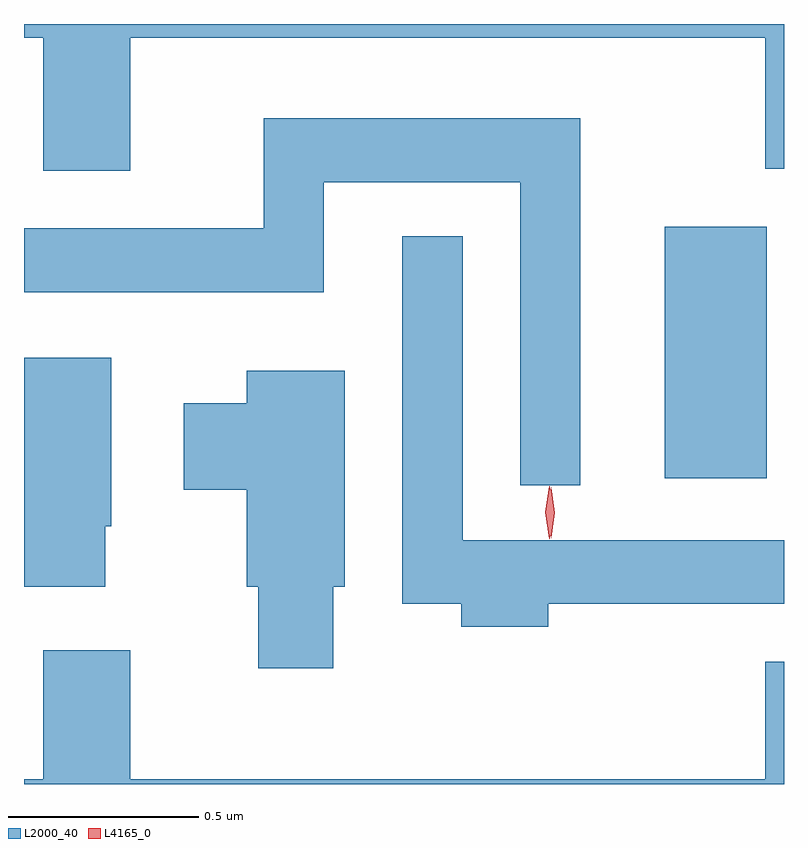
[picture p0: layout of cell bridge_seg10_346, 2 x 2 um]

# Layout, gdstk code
import gdstk
lib = gdstk.Library(unit=1e-6, precision=1e-09)
def R(c, l, rs):  # rectangles x0, y0, x1, y1
    for r in rs: c.add(gdstk.rectangle(r[:2], r[2:], *l))
def P(c, l, *ps):  # polygons
    for p in ps: c.add(gdstk.Polygon(p, *l))
L2000_40 = (2000, 40)
L4165_0 = (4165, 0)

bridge_seg10_346 = lib.new_cell('bridge_seg10_346')
R(bridge_seg10_346, L2000_40, [(1399.996,2152.716,1400.264,2153.379)])
P(bridge_seg10_346, L2000_40, [(1398.589,2153.876),(1400.261,2153.876),(1400.261,2153.531),(1400.31,2153.531),(1400.31,2153.912),(1398.31,2153.912),(1398.31,2153.876),(1398.361,2153.876),(1398.361,2153.526),(1398.589,2153.526)],
  [(1399.774,2153.664),(1398.941,2153.664),(1398.941,2153.374),(1398.31,2153.374),(1398.31,2153.206),(1399.099,2153.206),(1399.099,2153.496),(1399.616,2153.496),(1399.616,2152.698),(1399.774,2152.698)],
  [(1399.689,2152.386),(1400.31,2152.386),(1400.31,2152.554),(1399.464,2152.554),(1399.464,2153.353),(1399.306,2153.353),(1399.306,2152.386),(1399.461,2152.386),(1399.461,2152.326),(1399.689,2152.326)],
  [(1398.524,2152.59),(1398.539,2152.59),(1398.539,2153.034),(1398.31,2153.034),(1398.31,2152.431),(1398.524,2152.431)],
  [(1399.124,2152.431),(1399.154,2152.431),(1399.154,2152.999),(1398.896,2152.999),(1398.896,2152.914),(1398.731,2152.914),(1398.731,2152.686),(1398.896,2152.686),(1398.896,2152.431),(1398.926,2152.431),(1398.926,2152.216),(1399.124,2152.216)],
  [(1400.31,2152.234),(1400.261,2152.234),(1400.261,2151.924),(1398.589,2151.924),(1398.589,2152.264),(1398.361,2152.264),(1398.361,2151.924),(1398.31,2151.924),(1398.31,2151.912),(1400.31,2151.912)])
P(bridge_seg10_346, L4165_0, [(1399.697,2152.559),(1399.697,2152.56),(1399.687,2152.626),(1399.697,2152.692),(1399.697,2152.693),(1399.698,2152.692),(1399.707,2152.626),(1399.698,2152.56)],
  [(1399.692,2152.557),(1399.692,2152.557),(1399.682,2152.627),(1399.692,2152.696),(1399.692,2152.696),(1399.693,2152.696),(1399.702,2152.627),(1399.693,2152.557)])

lib.write_gds('bridge_seg10_346.gds')
